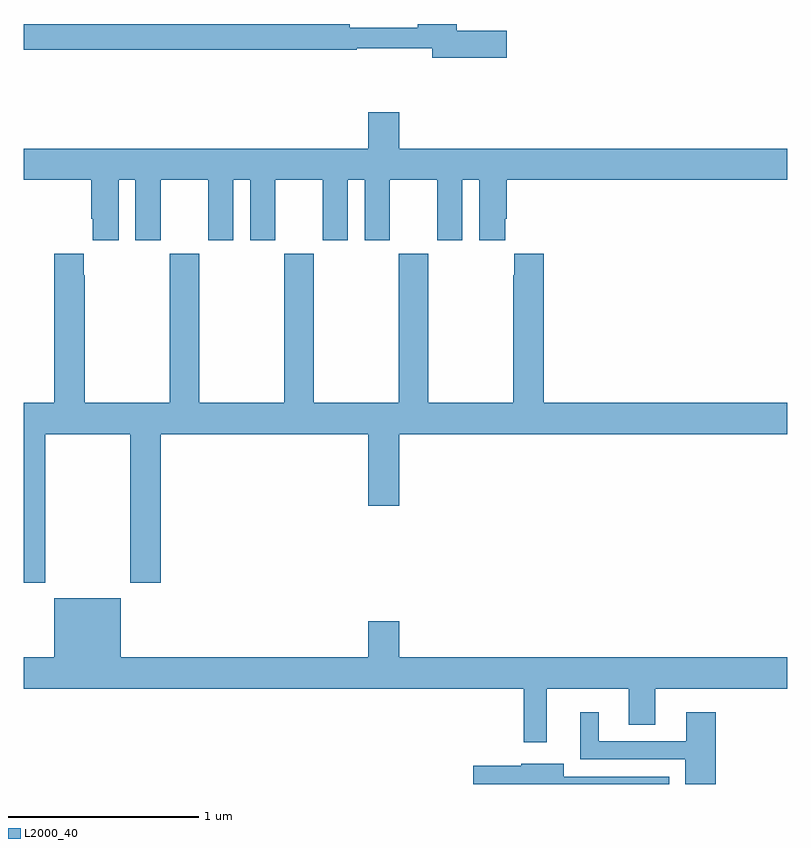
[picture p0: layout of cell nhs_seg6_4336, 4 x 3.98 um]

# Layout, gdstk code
import gdstk
lib = gdstk.Library(unit=1e-6, precision=1e-09)
def P(c, l, *ps):  # polygons
    for p in ps: c.add(gdstk.Polygon(p, *l))
L2000_40 = (2000, 40)

nhs_seg6_4336 = lib.new_cell('nhs_seg6_4336')
P(nhs_seg6_4336, L2000_40, [(369.529,953.444),(369.268,953.444),(369.268,953.48),(369.064,953.48),(369.064,953.461),(368.708,953.461),(368.708,953.48),(367,953.48),(367,953.344),(368.744,953.344),(368.744,953.352),(369.14,953.352),(369.14,953.302),(369.529,953.302)],
  [(367,952.664),(367.355,952.664),(367.355,952.459),(367.361,952.459),(367.361,952.347),(367.498,952.347),(367.498,952.664),(367.586,952.664),(367.586,952.347),(367.717,952.347),(367.717,952.664),(367.967,952.664),(367.967,952.347),(368.098,952.347),(368.098,952.664),(368.186,952.664),(368.186,952.347),(368.317,952.347),(368.317,952.664),(368.567,952.664),(368.567,952.347),(368.698,952.347),(368.698,952.664),(368.786,952.664),(368.786,952.347),(368.917,952.347),(368.917,952.664),(369.167,952.664),(369.167,952.347),(369.298,952.347),(369.298,952.664),(369.386,952.664),(369.386,952.347),(369.523,952.347),(369.523,952.459),(369.53,952.459),(369.53,952.664),(371,952.664),(371,952.828),(368.968,952.828),(368.968,953.017),(368.804,953.017),(368.804,952.828),(367,952.828)],
  [(367.113,951.332),(367.558,951.332),(367.558,950.553),(367.718,950.553),(367.718,951.332),(368.804,951.332),(368.804,950.958),(368.968,950.958),(368.968,951.332),(371,951.332),(371,951.496),(369.725,951.496),(369.725,952.276),(369.569,952.276),(369.569,952.163),(369.565,952.163),(369.565,951.496),(369.12,951.496),(369.12,952.276),(368.965,952.276),(368.965,951.496),(368.52,951.496),(368.52,952.276),(368.365,952.276),(368.365,951.496),(367.92,951.496),(367.92,952.276),(367.765,952.276),(367.765,951.496),(367.32,951.496),(367.32,952.163),(367.315,952.163),(367.315,952.276),(367.16,952.276),(367.16,951.496),(367,951.496),(367,950.553),(367.113,950.553)],
  [(369.739,950),(370.169,950),(370.169,949.81),(370.309,949.81),(370.309,950),(371,950),(371,950.164),(368.968,950.164),(368.968,950.353),(368.804,950.353),(368.804,950.164),(367.51,950.164),(367.51,950.473),(367.16,950.473),(367.16,950.164),(367,950.164),(367,950),(369.618,950),(369.618,949.719),(369.739,949.719)],
  [(370.625,949.876),(370.469,949.876),(370.469,949.725),(370.012,949.725),(370.012,949.876),(369.914,949.876),(369.914,949.629),(370.466,949.629),(370.466,949.5),(370.625,949.5)],
  [(370.381,949.539),(369.829,949.539),(369.829,949.606),(369.606,949.606),(369.606,949.596),(369.354,949.596),(369.354,949.5),(370.381,949.5)])

lib.write_gds('nhs_seg6_4336.gds')
